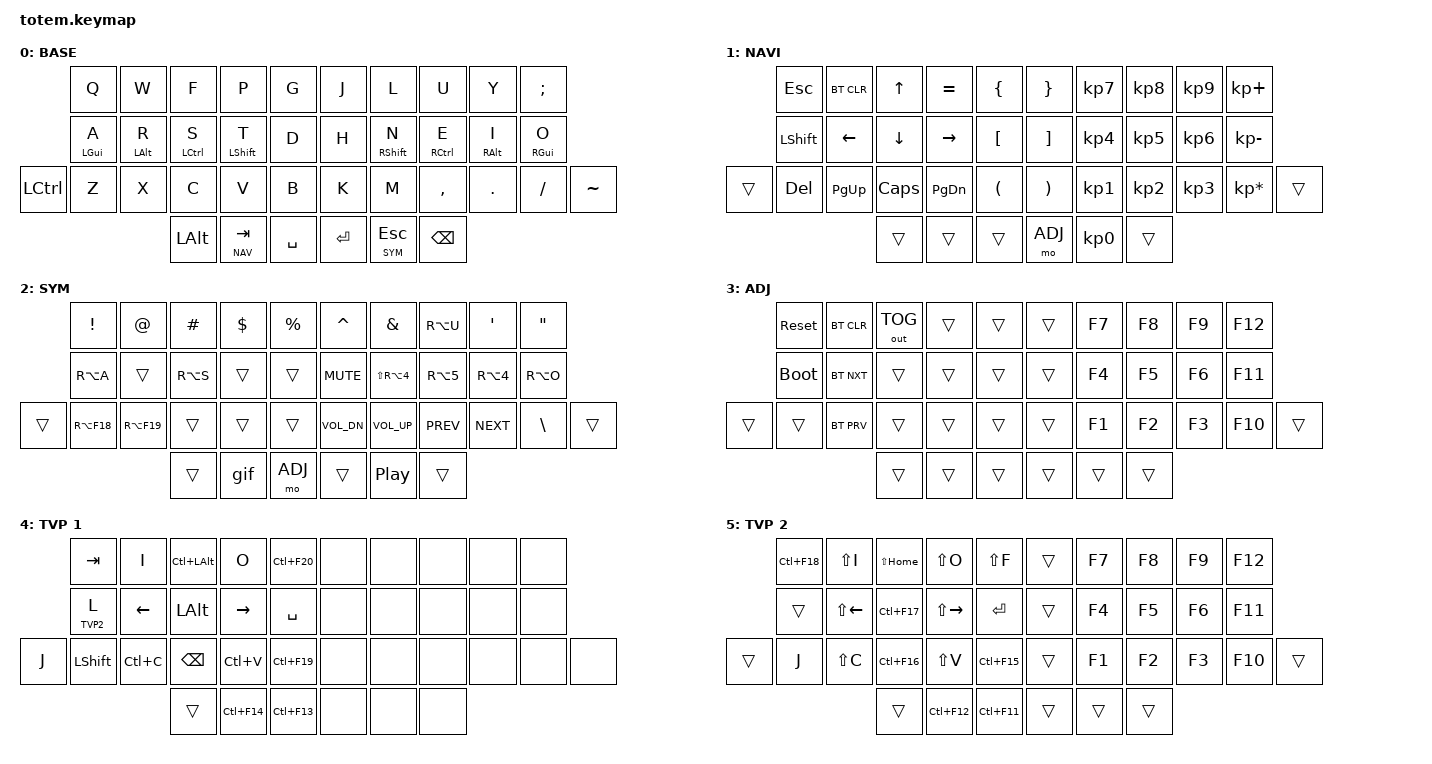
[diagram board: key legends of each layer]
//
//                                                        ▀▀▀▀▀     ▀▀▀▀▀          ▀▀█▀▀
//                                                        ▄▀▀▀▄  ▄  ▄▀▀▀▄  ▄  ▄▀▀▀▄  █  ▄▀▀▀▄
//                                                        █   █  █  █   █  █  █   █  █  █   █
//                                                         ▀▀▀   █   ▀▀▀   █   ▀▀▀   ▀   ▀▀▀
//                                                               █      ▄▄▄█▄▄▄    █   █
//                                                               ▀      █  █  █     █▄█
//                                                             ▀▀▀▀▀    █  █  █      ▀
//                                                                      ▀  ▀  ▀
//
// ▄▄▄▄▄▄▄▄▄▄▄▄▄▄▄▄▄▄▄▄▄▄▄▄▄▄▄▄▄▄▄▄▄▄▄▄▄▄▄▄▄▄▄▄▄▄▄▄▄▄▄▄▄▄▄▄▄▄▄▄▄▄▄▄▄▄▄▄▄▄▄▄▄▄▄▄▄▄▄▄▄▄▄▄▄▄▄▄▄▄▄▄▄▄▄▄▄▄▄▄▄▄▄▄▄▄▄▄▄▄▄▄▄▄▄▄▄▄▄▄▄▄▄▄▄▄▄▄▄▄▄▄▄▄▄▄▄▄▄▄▄▄▄▄▄▄▄▄▄


#include <behaviors.dtsi>
#include <dt-bindings/zmk/keys.h>
#include <dt-bindings/zmk/bt.h>
#include <dt-bindings/zmk/outputs.h>

// https://github.com/urob/zmk-helpers
#include "zmk-helpers/helper.h"
#include "zmk-helpers/key-labels/totem.h"
#include "zmk-helpers/unicode-chars/currency.dtsi"
#include "zmk-helpers/unicode-chars/french.dtsi"

/* from zmk_helpers/...../totem.h
 *
 *                                    38 KEY MATRIX / LAYOUT MAPPING

    ╭────────────────────┬────────────────────╮        ╭──────────────────────┬─────────────────────╮
    │  0   1   2   3   4 │  5   6   7   8   9 │        │  LT4 LT3 LT2 LT1 LT0 │ RT0 RT1 RT2 RT3 RT4 │
 ╭──╯ 10  11  12  13  14 │ 15  16  17  18  19 ╰───╮ ╭──╯  LM4 LM3 LM2 LM1 LM0 │ RM0 RM1 RM2 RM3 RM4 ╰───╮
 │ 20 21  22  23  24  25 │ 26  27  28  29  30  31 │ │ LB5 LB4 LB3 LB2 LB1 LB0 │ RB0 RB1 RB2 RB3 RB4 RB5 │
 ╰──────────╮ 32  33  34 │ 35  36  37 ╭───────────╯ ╰──────────╮  LH2 LH1 LH0 │ RH0 RH1 RH2 ╭───────────╯
            ╰────────────┴────────────╯                        ╰──────────────┴─────────────╯
*/

#define KEYS_L LT0 LT1 LT2 LT3 LT4 LM0 LM1 LM2 LM3 LM4 LB0 LB1 LB2 LB3 LB4 LB5  // left hand
#define KEYS_R RT0 RT1 RT2 RT3 RT4 RM0 RM1 RM2 RM3 RM4 RB0 RB1 RB2 RB3 RB4 RB5  // right hand
#define THUMBS LH2 LH1 LH0 RH0 RH1 RH2                                          // thumbs

ZMK_HOLD_TAP(hml,
    flavor = "balanced";
    tapping-term-ms = <280>;
    require-prior-idle-ms = <150>;
    hold-trigger-key-positions = <KEYS_R THUMBS>;
    hold-trigger-on-release;
    bindings = <&kp>, <&kp>;
)

#define BASE 0
#define NAV  1
#define SYM  2
#define ADJ  3
#define TVP1 4
#define TVP2 5

&mt {
  quick-tap-ms = <100>;
  global-quick-tap;
  flavor = "tap-preferred";
  tapping-term-ms = <170>;
};

/ {
     combos {
            compatible = "zmk,combos";
            combo_esc {
                timeout-ms = <50>;
                key-positions = <0 1>;
                bindings = <&kp ESC>;
            };
            combo_tvp {
                timeout-ms = <100>;
                key-positions = <11 12 13>;
                bindings = <&tog TVP1>;
            };
    };

    macros {
        gif: gif {
            label = "giphy";
            compatible = "zmk,behavior-macro";
            #binding-cells = <0>;
            bindings
                = <&macro_press &kp LSHFT>
                , <&macro_tap &kp N2>
                , <&macro_release &kp LSHFT>
                , <&macro_tap &kp G &kp I &kp F>
                ;
        };
    };

        keymap {
                compatible = "zmk,keymap";
// ▄▄▄▄▄▄▄▄▄▄▄▄▄▄▄▄▄▄▄▄▄▄▄▄▄▄▄▄▄▄▄▄▄▄▄▄▄▄▄▄▄▄▄▄▄▄▄▄▄▄▄▄▄▄▄▄▄▄▄▄▄▄▄▄▄▄▄▄▄▄▄▄▄▄▄▄▄▄▄▄▄▄▄▄▄▄▄▄▄▄▄▄▄▄▄▄▄▄▄▄▄▄▄▄▄▄▄▄▄▄▄▄▄▄▄▄▄▄▄▄▄▄▄▄▄▄▄▄▄▄▄▄▄▄▄▄▄▄▄▄▄▄▄▄▄▄▄▄▄

                base_layer {
// ┏━━━━━━━━━━━━━━━━━━━━━━━━━━━━━━━━━━━━━━━┓
label= "BASE"                              ;
// ┗━━━━━━━━━━━━━━━━━━━━━━━━━━━━━━━━━━━━━━━┛
//             ┏━━━━━━━━━━━┳━━━━━━━━━━━┳━━━━━━━━━━━┳━━━━━━━━━━━┳━━━━━━━━━━━┓   ┏━━━━━━━━━━━┳━━━━━━━━━━━┳━━━━━━━━━━━┳━━━━━━━━━━━┳━━━━━━━━━━━┓
//             ┃     Q     ┃     W     ┃     F     ┃     P     ┃     G     ┃   ┃     J     ┃     L     ┃     U     ┃     Y     ┃     ;     ┃
//             ┣━━━━━━━━━━━╋━━━━━━━━━━━╋━━━━━━━━━━━╋━━━━━━━━━━━╋━━━━━━━━━━━┫   ┣━━━━━━━━━━━╋━━━━━━━━━━━╋━━━━━━━━━━━╋━━━━━━━━━━━╋━━━━━━━━━━━┫
//             ┃  LGUI/A   ┃  LALT/R   ┃  LCTRL/S  ┃  LSHFT/T  ┃     D     ┃   ┃     H     ┃  RSHFT/N  ┃  RCTRL/E  ┃  RALT/I   ┃  RGUI/O   ┃
// ┏━━━━━━━━━━━╋━━━━━━━━━━━╋━━━━━━━━━━━╋━━━━━━━━━━━╋━━━━━━━━━━━╋━━━━━━━━━━━┫   ┣━━━━━━━━━━━╋━━━━━━━━━━━╋━━━━━━━━━━━╋━━━━━━━━━━━╋━━━━━━━━━━━╋━━━━━━━━━━━┓
// ┃   LCTRL   ┃     Z     ┃     X     ┃     C     ┃     V     ┃     B     ┃   ┃     K     ┃     M     ┃     ,     ┃     .     ┃     /     ┃     ~     ┃
// ┗━━━━━━━━━━━┻━━━━━━━━━━━┻━━━━━━━━━━━╋━━━━━━━━━━━╋━━━━━━━━━━━╋━━━━━━━━━━━┫   ┣━━━━━━━━━━━╋━━━━━━━━━━━╋━━━━━━━━━━━╋━━━━━━━━━━━┻━━━━━━━━━━━┻━━━━━━━━━━━┛
//                                     ┃   LALT    ┃  NAV/TAB  ┃    SPC    ┃   ┃   ENTER   ┃ SYM/ESC   ┃   BSPC    ┃
//                                     ┗━━━━━━━━━━━┻━━━━━━━━━━━┻━━━━━━━━━━━┛   ┗━━━━━━━━━━━┻━━━━━━━━━━━┻━━━━━━━━━━━┛
 bindings = <
// ╷           ╷           ╷           ╷           ╷           ╷           ╷   ╷           ╷           ╷           ╷           ╷           ╷           ╷

                &kp Q       &kp W       &kp F       &kp P       &kp G           &kp J       &kp L       &kp U       &kp Y       &kp SEMI
                &mt LGUI A  &mt LALT R  &mt LCTRL S &mt LSHFT T &kp D           &kp H       &mt RSHFT N &mt RCTRL E &mt RALT I  &mt RGUI O
    &kp LCTRL   &kp Z       &kp X       &kp C       &kp V       &kp B           &kp K       &kp M       &kp COMMA   &kp DOT     &kp FSLH    &kp TILDE
                                        &kp LALT    &lt NAV TAB   &kp SPACE       &kp RET   &lt SYM ESC   &kp BSPC
                        >;
                };

// ▄▄▄▄▄▄▄▄▄▄▄▄▄▄▄▄▄▄▄▄▄▄▄▄▄▄▄▄▄▄▄▄▄▄▄▄▄▄▄▄▄▄▄▄▄▄▄▄▄▄▄▄▄▄▄▄▄▄▄▄▄▄▄▄▄▄▄▄▄▄▄▄▄▄▄▄▄▄▄▄▄▄▄▄▄▄▄▄▄▄▄▄▄▄▄▄▄▄▄▄▄▄▄▄▄▄▄▄▄▄▄▄▄▄▄▄▄▄▄▄▄▄▄▄▄▄▄▄▄▄▄▄▄▄▄▄▄▄▄▄▄▄▄▄▄▄▄▄▄


                nav_layer {
// ┏━━━━━━━━━━━━━━━━━━━━━━━━━━━━━━━━━━━━━━━┓
label= "NAVI"                              ;
// ┗━━━━━━━━━━━━━━━━━━━━━━━━━━━━━━━━━━━━━━━┛
//             ┏━━━━━━━━━━━┳━━━━━━━━━━━┳━━━━━━━━━━━┳━━━━━━━━━━━┳━━━━━━━━━━━┓   ┏━━━━━━━━━━━┳━━━━━━━━━━━┳━━━━━━━━━━━┳━━━━━━━━━━━┳━━━━━━━━━━━┓
//             ┃           ┃           ┃     UP    ┃           ┃     {     ┃   ┃     }     ┃     7     ┃     8     ┃     9     ┃     +     ┃
//             ┣━━━━━━━━━━━╋━━━━━━━━━━━╋━━━━━━━━━━━╋━━━━━━━━━━━╋━━━━━━━━━━━┫   ┣━━━━━━━━━━━╋━━━━━━━━━━━╋━━━━━━━━━━━╋━━━━━━━━━━━╋━━━━━━━━━━━┫
//             ┃   SHIFT   ┃   LEFT    ┃    DOWN   ┃   RIGHT   ┃     [     ┃   ┃     ]     ┃     4     ┃     5     ┃     6     ┃     -     ┃
// ┏━━━━━━━━━━━╋━━━━━━━━━━━╋━━━━━━━━━━━╋━━━━━━━━━━━╋━━━━━━━━━━━╋━━━━━━━━━━━┫   ┣━━━━━━━━━━━╋━━━━━━━━━━━╋━━━━━━━━━━━╋━━━━━━━━━━━╋━━━━━━━━━━━╋━━━━━━━━━━━┓
// ┃           ┃           ┃   P UP    ┃  C LOCK   ┃  P DOWN   ┃     (     ┃   ┃     )     ┃     1     ┃     2     ┃     3     ┃     *     ┃           ┃
// ┗━━━━━━━━━━━┻━━━━━━━━━━━┻━━━━━━━━━━━╋━━━━━━━━━━━╋━━━━━━━━━━━╋━━━━━━━━━━━┫   ┣━━━━━━━━━━━╋━━━━━━━━━━━╋━━━━━━━━━━━╋━━━━━━━━━━━┻━━━━━━━━━━━┻━━━━━━━━━━━┛
//                                     ┃           ┃    TAB    ┃    SPC    ┃   ┃    DEL    ┃     0     ┃           ┃
//                                     ┗━━━━━━━━━━━┻━━━━━━━━━━━┻━━━━━━━━━━━┛   ┗━━━━━━━━━━━┻━━━━━━━━━━━┻━━━━━━━━━━━┛
 bindings = <
// ╷           ╷           ╷           ╷           ╷           ╷           ╷   ╷           ╷           ╷           ╷           ╷           ╷           ╷

                &kp ESC     &bt BT_CLR  &kp UP      &kp EQUAL   &kp LBRC        &kp RBRC    &kp KP_N7   &kp KP_N8   &kp KP_N9   &kp KP_PLUS
                &kp LSHFT   &kp LEFT    &kp DOWN    &kp RIGHT   &kp LBKT        &kp RBKT    &kp KP_N4   &kp KP_N5   &kp KP_N6   &kp KP_MINUS
    &trans      &kp DEL     &kp PG_UP   &kp CAPS    &kp PG_DN   &kp LPAR        &kp RPAR    &kp KP_N1   &kp KP_N2   &kp KP_N3   &kp KP_MULTIPLY &trans
                                        &trans      &trans      &trans          &mo ADJ     &kp KP_N0   &trans
                        >;
                };

// ▄▄▄▄▄▄▄▄▄▄▄▄▄▄▄▄▄▄▄▄▄▄▄▄▄▄▄▄▄▄▄▄▄▄▄▄▄▄▄▄▄▄▄▄▄▄▄▄▄▄▄▄▄▄▄▄▄▄▄▄▄▄▄▄▄▄▄▄▄▄▄▄▄▄▄▄▄▄▄▄▄▄▄▄▄▄▄▄▄▄▄▄▄▄▄▄▄▄▄▄▄▄▄▄▄▄▄▄▄▄▄▄▄▄▄▄▄▄▄▄▄▄▄▄▄▄▄▄▄▄▄▄▄▄▄▄▄▄▄▄▄▄▄▄▄▄▄▄▄


                sim_layer {
// ┏━━━━━━━━━━━━━━━━━━━━━━━━━━━━━━━━━━━━━━━┓
label= "SYM"                               ;
// ┗━━━━━━━━━━━━━━━━━━━━━━━━━━━━━━━━━━━━━━━┛
//             ┏━━━━━━━━━━━┳━━━━━━━━━━━┳━━━━━━━━━━━┳━━━━━━━━━━━┳━━━━━━━━━━━┓   ┏━━━━━━━━━━━┳━━━━━━━━━━━┳━━━━━━━━━━━┳━━━━━━━━━━━┳━━━━━━━━━━━┓
//             ┃     !     ┃     @     ┃     #     ┃     $     ┃     %     ┃   ┃     ˆ     ┃     &     ┃     Ü     ┃     '     ┃     "     ┃
//             ┣━━━━━━━━━━━╋━━━━━━━━━━━╋━━━━━━━━━━━╋━━━━━━━━━━━╋━━━━━━━━━━━┫   ┣━━━━━━━━━━━╋━━━━━━━━━━━╋━━━━━━━━━━━╋━━━━━━━━━━━╋━━━━━━━━━━━┫
//             ┃     Ä     ┃           ┃    SZ     ┃           ┃           ┃   ┃   MUTE    ┃   YEN     ┃   EURO    ┃  POUND    ┃     Ö     ┃
// ┏━━━━━━━━━━━╋━━━━━━━━━━━╋━━━━━━━━━━━╋━━━━━━━━━━━╋━━━━━━━━━━━╋━━━━━━━━━━━┫   ┣━━━━━━━━━━━╋━━━━━━━━━━━╋━━━━━━━━━━━╋━━━━━━━━━━━╋━━━━━━━━━━━╋━━━━━━━━━━━┓
// ┃           ┃  EMAIL1   ┃  EMAIL2   ┃           ┃           ┃           ┃   ┃   VOL-    ┃   VOL+    ┃   LAST    ┃   NEXT    ┃     \     ┃           ┃
// ┗━━━━━━━━━━━┻━━━━━━━━━━━┻━━━━━━━━━━━╋━━━━━━━━━━━╋━━━━━━━━━━━╋━━━━━━━━━━━┫   ┣━━━━━━━━━━━╋━━━━━━━━━━━╋━━━━━━━━━━━╋━━━━━━━━━━━┻━━━━━━━━━━━┻━━━━━━━━━━━┛
//                                     ┃           ┃    GIF    ┃    ADJ    ┃   ┃           ┃PLAY/PAUSE ┃           ┃
//                                     ┗━━━━━━━━━━━┻━━━━━━━━━━━┻━━━━━━━━━━━┛   ┗━━━━━━━━━━━┻━━━━━━━━━━━┻━━━━━━━━━━━┛
 bindings = <
// ╷           ╷           ╷           ╷           ╷           ╷           ╷   ╷           ╷           ╷           ╷           ╷           ╷           ╷

                &kp EXCL    &kp AT      &kp HASH    &kp DLLR    &kp PRCNT       &kp CARET   &kp AMPS    &kp RA(U)   &kp SQT     &kp DQT
                &kp RA(A)   &trans      &kp RA(S)   &trans      &trans          &kp C_MUTE  &kp LS(RA(N4)) &kp RA(N5) &kp RA(N4)   &kp RA(O)
    &trans      &kp RA(F18) &kp RA(F19) &trans      &trans      &trans          &kp C_VOL_DN &kp C_VOL_UP &kp C_PREV &kp C_NEXT  &kp BSLH   &trans
                                        &trans      &gif        &mo ADJ         &trans      &kp C_PP    &trans
                        >;
                };

// ▄▄▄▄▄▄▄▄▄▄▄▄▄▄▄▄▄▄▄▄▄▄▄▄▄▄▄▄▄▄▄▄▄▄▄▄▄▄▄▄▄▄▄▄▄▄▄▄▄▄▄▄▄▄▄▄▄▄▄▄▄▄▄▄▄▄▄▄▄▄▄▄▄▄▄▄▄▄▄▄▄▄▄▄▄▄▄▄▄▄▄▄▄▄▄▄▄▄▄▄▄▄▄▄▄▄▄▄▄▄▄▄▄▄▄▄▄▄▄▄▄▄▄▄▄▄▄▄▄▄▄▄▄▄▄▄▄▄▄▄▄▄▄▄▄▄▄▄▄


                adjust_layer {
// ┏━━━━━━━━━━━━━━━━━━━━━━━━━━━━━━━━━━━━━━━┓
label= "ADJ"                               ;
// ┗━━━━━━━━━━━━━━━━━━━━━━━━━━━━━━━━━━━━━━━┛
//             ┏━━━━━━━━━━━┳━━━━━━━━━━━┳━━━━━━━━━━━┳━━━━━━━━━━━┳━━━━━━━━━━━┓   ┏━━━━━━━━━━━┳━━━━━━━━━━━┳━━━━━━━━━━━┳━━━━━━━━━━━┳━━━━━━━━━━━┓
//             ┃   RESET   ┃ BT CLEAR  ┃  OUT TOG  ┃           ┃           ┃   ┃           ┃    F7     ┃    F8     ┃    F9     ┃    F12    ┃
//             ┣━━━━━━━━━━━╋━━━━━━━━━━━╋━━━━━━━━━━━╋━━━━━━━━━━━╋━━━━━━━━━━━┫   ┣━━━━━━━━━━━╋━━━━━━━━━━━╋━━━━━━━━━━━╋━━━━━━━━━━━╋━━━━━━━━━━━┫
//             ┃ BOOTLOAD  ┃ BT NEXT   ┃           ┃           ┃           ┃   ┃           ┃    F4     ┃    F5     ┃    F6     ┃    F11    ┃
// ┏━━━━━━━━━━━╋━━━━━━━━━━━╋━━━━━━━━━━━╋━━━━━━━━━━━╋━━━━━━━━━━━╋━━━━━━━━━━━┫   ┣━━━━━━━━━━━╋━━━━━━━━━━━╋━━━━━━━━━━━╋━━━━━━━━━━━╋━━━━━━━━━━━╋━━━━━━━━━━━┓
// ┃           ┃           ┃ BT PREV   ┃           ┃           ┃           ┃   ┃           ┃    F1     ┃    F2     ┃    F3     ┃    F10    ┃           ┃
// ┗━━━━━━━━━━━┻━━━━━━━━━━━┻━━━━━━━━━━━╋━━━━━━━━━━━╋━━━━━━━━━━━╋━━━━━━━━━━━┫   ┣━━━━━━━━━━━╋━━━━━━━━━━━╋━━━━━━━━━━━╋━━━━━━━━━━━┻━━━━━━━━━━━┻━━━━━━━━━━━┛
//                                     ┃           ┃           ┃           ┃   ┃           ┃           ┃           ┃
//                                     ┗━━━━━━━━━━━┻━━━━━━━━━━━┻━━━━━━━━━━━┛   ┗━━━━━━━━━━━┻━━━━━━━━━━━┻━━━━━━━━━━━┛
 bindings = <
// ╷           ╷           ╷           ╷           ╷           ╷           ╷   ╷           ╷           ╷           ╷           ╷           ╷           ╷

                &sys_reset  &bt BT_CLR &out OUT_TOG &trans      &trans          &trans      &kp F7      &kp F8      &kp F9      &kp F12
                &bootloader &bt BT_NXT  &trans      &trans      &trans          &trans      &kp F4      &kp F5      &kp F6      &kp F11
    &trans      &trans      &bt BT_PRV  &trans      &trans      &trans          &trans      &kp F1      &kp F2      &kp F3      &kp F10     &trans
                                        &trans      &trans      &trans          &trans      &trans      &trans
                        >;
                };

// ▄▄▄▄▄▄▄▄▄▄▄▄▄▄▄▄▄▄▄▄▄▄▄▄▄▄▄▄▄▄▄▄▄▄▄▄▄▄▄▄▄▄▄▄▄▄▄▄▄▄▄▄▄▄▄▄▄▄▄▄▄▄▄▄▄▄▄▄▄▄▄▄▄▄▄▄▄▄▄▄▄▄▄▄▄▄▄▄▄▄▄▄▄▄▄▄▄▄▄▄▄▄▄▄▄▄▄▄▄▄▄▄▄▄▄▄▄▄▄▄▄▄▄▄▄▄▄▄▄▄▄▄▄▄▄▄▄▄▄▄▄▄▄▄▄▄▄▄▄


                tvp1_layer {
// ┏━━━━━━━━━━━━━━━━━━━━━━━━━━━━━━━━━━━━━━━┓
label= "TVP 1"                             ;
// ┗━━━━━━━━━━━━━━━━━━━━━━━━━━━━━━━━━━━━━━━┛
//             ┏━━━━━━━━━━━┳━━━━━━━━━━━┳━━━━━━━━━━━┳━━━━━━━━━━━┳━━━━━━━━━━━┓   ┏━━━━━━━━━━━┳━━━━━━━━━━━┳━━━━━━━━━━━┳━━━━━━━━━━━┳━━━━━━━━━━━┓
//             ┃ NEXT FILE ┃ MARK IN   ┃ ROTATE    ┃ MARK OUT  ┃ SHOW SNAP ┃   ┃           ┃           ┃           ┃           ┃           ┃
//             ┣━━━━━━━━━━━╋━━━━━━━━━━━╋━━━━━━━━━━━╋━━━━━━━━━━━╋━━━━━━━━━━━┫   ┣━━━━━━━━━━━╋━━━━━━━━━━━╋━━━━━━━━━━━╋━━━━━━━━━━━╋━━━━━━━━━━━┫
//             ┃ TVP II    ┃ LEFT      ┃ PAN       ┃ RIGHT     ┃ PLAY/FLIP ┃   ┃           ┃           ┃           ┃           ┃           ┃
// ┏━━━━━━━━━━━╋━━━━━━━━━━━╋━━━━━━━━━━━╋━━━━━━━━━━━╋━━━━━━━━━━━╋━━━━━━━━━━━┫   ┣━━━━━━━━━━━╋━━━━━━━━━━━╋━━━━━━━━━━━╋━━━━━━━━━━━╋━━━━━━━━━━━╋━━━━━━━━━━━┓
// ┃ FULLSCR   ┃ SHIFT     ┃ COPY      ┃ DELETE    ┃ PASTE     ┃ IMG MARK  ┃   ┃           ┃           ┃           ┃           ┃           ┃           ┃
// ┗━━━━━━━━━━━┻━━━━━━━━━━━┻━━━━━━━━━━━╋━━━━━━━━━━━╋━━━━━━━━━━━╋━━━━━━━━━━━┫   ┣━━━━━━━━━━━╋━━━━━━━━━━━╋━━━━━━━━━━━╋━━━━━━━━━━━┻━━━━━━━━━━━┻━━━━━━━━━━━┛
//                                     ┃           ┃ UNDO/SAVE ┃  SEL/MOV  ┃   ┃           ┃           ┃           ┃
//                                     ┗━━━━━━━━━━━┻━━━━━━━━━━━┻━━━━━━━━━━━┛   ┗━━━━━━━━━━━┻━━━━━━━━━━━┻━━━━━━━━━━━┛
 bindings = <
// ╷           ╷           ╷           ╷           ╷           ╷           ╷   ╷           ╷           ╷           ╷           ╷           ╷           ╷

                &kp TAB     &kp I       &kp LC(LALT) &kp O      &kp LC(F20)     &none       &none       &none       &none       &none
                &lt TVP2 L  &kp LEFT    &kp LALT    &kp RIGHT   &kp SPACE       &none       &none       &none       &none       &none
    &kp J       &kp LSHFT   &kp LC(C)   &kp BSPC    &kp LC(V)   &kp LC(F19)     &none       &none       &none       &none       &none       &none
                                        &trans      &kp LC(F14) &kp LC(F13)     &none       &none       &none
                        >;
                };

// ▄▄▄▄▄▄▄▄▄▄▄▄▄▄▄▄▄▄▄▄▄▄▄▄▄▄▄▄▄▄▄▄▄▄▄▄▄▄▄▄▄▄▄▄▄▄▄▄▄▄▄▄▄▄▄▄▄▄▄▄▄▄▄▄▄▄▄▄▄▄▄▄▄▄▄▄▄▄▄▄▄▄▄▄▄▄▄▄▄▄▄▄▄▄▄▄▄▄▄▄▄▄▄▄▄▄▄▄▄▄▄▄▄▄▄▄▄▄▄▄▄▄▄▄▄▄▄▄▄▄▄▄▄▄▄▄▄▄▄▄▄▄▄▄▄▄▄▄▄


                tvp2_layer {
// ┏━━━━━━━━━━━━━━━━━━━━━━━━━━━━━━━━━━━━━━━┓
label= "TVP 2"                             ;
// ┗━━━━━━━━━━━━━━━━━━━━━━━━━━━━━━━━━━━━━━━┛
//             ┏━━━━━━━━━━━┳━━━━━━━━━━━┳━━━━━━━━━━━┳━━━━━━━━━━━┳━━━━━━━━━━━┓   ┏━━━━━━━━━━━┳━━━━━━━━━━━┳━━━━━━━━━━━┳━━━━━━━━━━━┳━━━━━━━━━━━┓
//             ┃ SOLO      ┃ TOGGLE IN ┃ RESET ROT ┃ TOGGLE OUT┃ TAKE SNAP ┃   ┃           ┃           ┃           ┃           ┃           ┃
//             ┣━━━━━━━━━━━╋━━━━━━━━━━━╋━━━━━━━━━━━╋━━━━━━━━━━━╋━━━━━━━━━━━┫   ┣━━━━━━━━━━━╋━━━━━━━━━━━╋━━━━━━━━━━━╋━━━━━━━━━━━╋━━━━━━━━━━━┫
//             ┃ ---       ┃ LAST KEY  ┃ NEW KEY   ┃ NEXT KEY  ┃ ENTER     ┃   ┃           ┃           ┃           ┃           ┃           ┃
// ┏━━━━━━━━━━━╋━━━━━━━━━━━╋━━━━━━━━━━━╋━━━━━━━━━━━╋━━━━━━━━━━━╋━━━━━━━━━━━┫   ┣━━━━━━━━━━━╋━━━━━━━━━━━╋━━━━━━━━━━━╋━━━━━━━━━━━╋━━━━━━━━━━━╋━━━━━━━━━━━┓
// ┃           ┃ FULLSCR   ┃ CPY2BRUSH ┃ DEL HEAD  ┃ PSTinPLACE┃ BOOK MARK ┃   ┃           ┃           ┃           ┃           ┃           ┃           ┃
// ┗━━━━━━━━━━━┻━━━━━━━━━━━┻━━━━━━━━━━━╋━━━━━━━━━━━╋━━━━━━━━━━━╋━━━━━━━━━━━┫   ┣━━━━━━━━━━━╋━━━━━━━━━━━╋━━━━━━━━━━━╋━━━━━━━━━━━┻━━━━━━━━━━━┻━━━━━━━━━━━┛
//                                     ┃           ┃ REDO/SAV1 ┃TRANS/WARP ┃   ┃           ┃           ┃           ┃
//                                     ┗━━━━━━━━━━━┻━━━━━━━━━━━┻━━━━━━━━━━━┛   ┗━━━━━━━━━━━┻━━━━━━━━━━━┻━━━━━━━━━━━┛
 bindings = <
// ╷           ╷           ╷           ╷           ╷           ╷           ╷   ╷           ╷           ╷           ╷           ╷           ╷           ╷

                &kp LC(F18) &kp LS(I)  &kp LS(HOME) &kp LS(O)   &kp LS(F)       &trans      &kp F7      &kp F8      &kp F9      &kp F12
                &trans      &kp LS(LEFT) &kp LC(F17) &kp LS(RIGHT) &kp RET      &trans      &kp F4      &kp F5      &kp F6      &kp F11
    &trans      &kp J       &kp LS(C)   &kp LC(F16) &kp LS(V)   &kp LC(F15)     &trans      &kp F1      &kp F2      &kp F3      &kp F10     &trans
                                        &trans      &kp LC(F12) &kp LC(F11)     &trans      &trans      &trans
                        >;
                };
        };
};
